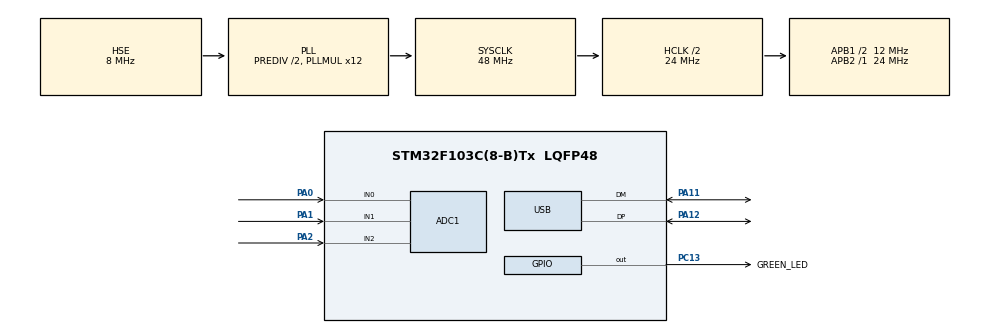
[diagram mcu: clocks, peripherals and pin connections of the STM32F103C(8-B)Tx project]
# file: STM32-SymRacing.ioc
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ADC1.Channel-4\#ChannelRegularConversion=ADC_CHANNEL_0
ADC1.Channel-5\#ChannelRegularConversion=ADC_CHANNEL_1
ADC1.Channel-6\#ChannelRegularConversion=ADC_CHANNEL_2
ADC1.ContinuousConvMode=ENABLE
ADC1.DataAlign=ADC_DATAALIGN_RIGHT
ADC1.EnableInjectedConversion=DISABLE
ADC1.EnableRegularConversion=ENABLE
ADC1.InjNumberOfConversion=0
ADC1.NbrOfConversion=3
ADC1.NbrOfConversionFlag=1
ADC1.Rank-4\#ChannelRegularConversion=1
ADC1.Rank-5\#ChannelRegularConversion=2
ADC1.Rank-6\#ChannelRegularConversion=3
ADC1.SamplingTime-4\#ChannelRegularConversion=ADC_SAMPLETIME_239CYCLES_5
ADC1.SamplingTime-5\#ChannelRegularConversion=ADC_SAMPLETIME_239CYCLES_5
ADC1.SamplingTime-6\#ChannelRegularConversion=ADC_SAMPLETIME_239CYCLES_5
ADC1.master=1
Dma.ADC1.0.Direction=DMA_PERIPH_TO_MEMORY
Dma.ADC1.0.Instance=DMA1_Channel1
Dma.ADC1.0.MemDataAlignment=DMA_MDATAALIGN_WORD
Dma.ADC1.0.MemInc=DMA_MINC_ENABLE
Dma.ADC1.0.Mode=DMA_CIRCULAR
Dma.ADC1.0.PeriphDataAlignment=DMA_PDATAALIGN_HALFWORD
Dma.ADC1.0.PeriphInc=DMA_PINC_DISABLE
Dma.ADC1.0.Priority=DMA_PRIORITY_LOW
Dma.Request0=ADC1
Mcu.Family=STM32F1
Mcu.Name=STM32F103C(8-B)Tx
Mcu.Package=LQFP48
NVIC.DMA1_Channel1_IRQn=true\:0\:0\:false\:false\:true\:false\:true\:true
NVIC.PriorityGroup=NVIC_PRIORITYGROUP_4
NVIC.USB_LP_CAN1_RX0_IRQn=true\:0\:0\:false\:false\:true\:false\:true\:true
PA0-WKUP.Signal=ADCx_IN0
PA1.Signal=ADCx_IN1
PA11.Mode=Device
PA11.Signal=USB_DM
PA12.Mode=Device
PA12.Signal=USB_DP
PA13.Mode=Serial_Wire
PA13.Signal=SYS_JTMS-SWDIO
PA14.Mode=Serial_Wire
PA14.Signal=SYS_JTCK-SWCLK
PA2.Signal=ADCx_IN2
PC13-TAMPER-RTC.GPIO_Label=GREEN_LED
PC13-TAMPER-RTC.GPIO_ModeDefaultOutputPP=GPIO_MODE_OUTPUT_OD
PC13-TAMPER-RTC.GPIO_PuPd=GPIO_NOPULL
PC13-TAMPER-RTC.GPIO_Speed=GPIO_SPEED_FREQ_HIGH
PC13-TAMPER-RTC.PinState=GPIO_PIN_SET
PC13-TAMPER-RTC.Signal=GPIO_Output
PD0-OSC_IN.Mode=HSE-External-Oscillator
PD0-OSC_IN.Signal=RCC_OSC_IN
PD1-OSC_OUT.Mode=HSE-External-Oscillator
PD1-OSC_OUT.Signal=RCC_OSC_OUT
ProjectManager.HeapSize=0x200
ProjectManager.StackSize=0x400
ProjectManager.TargetToolchain=STM32CubeIDE
RCC.AHBCLKDivider=RCC_SYSCLK_DIV2
RCC.AHBFreq_Value=24000000
RCC.APB1CLKDivider=RCC_HCLK_DIV2
RCC.APB1Freq_Value=12000000
RCC.APB1TimFreq_Value=24000000
RCC.APB2Freq_Value=24000000
RCC.APB2TimFreq_Value=24000000
RCC.HCLKFreq_Value=24000000
RCC.HSEDivPLL=RCC_HSE_PREDIV_DIV2
RCC.PLLMUL=RCC_PLL_MUL12
RCC.SYSCLKFreq_VALUE=48000000
RCC.SYSCLKSource=RCC_SYSCLKSOURCE_PLLCLK
RCC.USBFreq_Value=48000000
SH.ADCx_IN0.0=ADC1_IN0,IN0
SH.ADCx_IN1.0=ADC1_IN1,IN1
SH.ADCx_IN2.0=ADC1_IN2,IN2
USB_DEVICE.CLASS_NAME_FS=HID
USB_DEVICE.PRODUCT_STRING_HID_FS=STM32-SymRacing
USB_DEVICE.VirtualMode=Hid
USB_DEVICE.VirtualModeFS=Hid_FS
VP_USB_DEVICE_VS_USB_DEVICE_HID_FS.Mode=HID_FS
board=custom

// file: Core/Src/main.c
/* USER CODE BEGIN Header */
/**
 ******************************************************************************
 * @file           : main.c
 * @brief          : Main program body
 ******************************************************************************
 * @attention
 *
 * Copyright (c) 2023 STMicroelectronics.
 * All rights reserved.
 *
 * This software is licensed under terms that can be found in the LICENSE file
 * in the root directory of this software component.
 * If no LICENSE file comes with this software, it is provided AS-IS.
 *
 ******************************************************************************
 */
/* USER CODE END Header */
#include "main.h"
#include "usb_device.h"

/* USER CODE BEGIN Includes */
#include "stm32f1xx_hal_gpio.h"
#include "stm32f1xx_it.h"
#include "usbd_hid.h"
#include "stm32f1xx_hal_adc.h"
/* USER CODE END Includes */

/* USER CODE BEGIN PD */
#define ADC_CHANNEL_COUNT	3
#define MAX_ADC_VALUE		3800
#define MIN_ADC_VALUE		600
/* USER CODE END PD */

ADC_HandleTypeDef hadc1;
DMA_HandleTypeDef hdma_adc1;

/* USER CODE BEGIN PV */
static volatile uint32_t t_led = 0;
static volatile uint32_t t_usb = 0;
extern USBD_HandleTypeDef hUsbDeviceFS;

typedef struct {
	uint8_t reportId;
	uint8_t accelerator;
	uint8_t brake;
	uint8_t clutch;
	uint16_t steering;
} CarControlsReportData;

uint32_t adc_values[ADC_CHANNEL_COUNT] = { 0 };
//static uint32_t value_adc;
/* USER CODE END PV */

void SystemClock_Config(void);
static void MX_GPIO_Init(void);
static void MX_DMA_Init(void);
static void MX_ADC1_Init(void);
/* USER CODE BEGIN PFP */
static void process_ms(void);
/* USER CODE END PFP */

int main(void)
{

  /* MCU Configuration--------------------------------------------------------*/

  /* Reset of all peripherals, Initializes the Flash interface and the Systick. */
  HAL_Init();

  /* Configure the system clock */
  SystemClock_Config();

  /* USER CODE BEGIN SysInit */
	SysTick_Add_Callback(&process_ms);
  /* USER CODE END SysInit */

  /* Initialize all configured peripherals */
  MX_GPIO_Init();
  MX_DMA_Init();
  MX_USB_DEVICE_Init();
  MX_ADC1_Init();
  /* USER CODE BEGIN 2 */

	CarControlsReportData data = { 0 };
	data.reportId = (uint8_t) HID_REPORT_ID;
	data.steering = 1 << 15;

	// ADC
	HAL_ADC_Start_DMA(&hadc1, adc_values, ADC_CHANNEL_COUNT);
	double adc_convertion_factor = (double) (1<<8) / (MAX_ADC_VALUE - MIN_ADC_VALUE);

  /* USER CODE END 2 */

  /* Infinite loop */
  /* USER CODE BEGIN WHILE */
	uint8_t adc_byte_value[ADC_CHANNEL_COUNT] = {0};

	while (1) {
		if (!t_led) {
			t_led = 500;
			HAL_GPIO_TogglePin(GPIOC, GPIO_PIN_13);
		}

		if (!t_usb) {
			t_usb = 1;

			// convert data
			for(uint8_t i=0; i<ADC_CHANNEL_COUNT; i++){
				if(adc_values[i] > MAX_ADC_VALUE){
					adc_byte_value[i] = (uint8_t) (2 << 8) - 1;
				}else if(adc_values[i] < MIN_ADC_VALUE){
					adc_byte_value[i] = 0;
				}else{
					adc_byte_value[i] = (uint8_t) ((adc_values[i] - MIN_ADC_VALUE) * adc_convertion_factor);
				}
			}

			data.accelerator = 255 - adc_byte_value[0];
			data.brake = 255 - adc_byte_value[1];
			data.clutch = 255 - adc_byte_value[2];

			USBD_HID_SendReport(&hUsbDeviceFS, (uint8_t*) &data, sizeof(data));
		}
    /* USER CODE END WHILE */

	}
}

void SystemClock_Config(void)
{
  RCC_OscInitTypeDef RCC_OscInitStruct = {0};
  RCC_ClkInitTypeDef RCC_ClkInitStruct = {0};
  RCC_PeriphCLKInitTypeDef PeriphClkInit = {0};

  /** Initializes the RCC Oscillators according to the specified parameters
  * in the RCC_OscInitTypeDef structure.
  */
  RCC_OscInitStruct.OscillatorType = RCC_OSCILLATORTYPE_HSE;
  RCC_OscInitStruct.HSEState = RCC_HSE_ON;
  RCC_OscInitStruct.HSEPredivValue = RCC_HSE_PREDIV_DIV2;
  RCC_OscInitStruct.HSIState = RCC_HSI_ON;
  RCC_OscInitStruct.PLL.PLLState = RCC_PLL_ON;
  RCC_OscInitStruct.PLL.PLLSource = RCC_PLLSOURCE_HSE;
  RCC_OscInitStruct.PLL.PLLMUL = RCC_PLL_MUL12;
  if (HAL_RCC_OscConfig(&RCC_OscInitStruct) != HAL_OK)
  {
    Error_Handler();
  }

  /** Initializes the CPU, AHB and APB buses clocks
  */
  RCC_ClkInitStruct.ClockType = RCC_CLOCKTYPE_HCLK|RCC_CLOCKTYPE_SYSCLK
                              |RCC_CLOCKTYPE_PCLK1|RCC_CLOCKTYPE_PCLK2;
  RCC_ClkInitStruct.SYSCLKSource = RCC_SYSCLKSOURCE_PLLCLK;
  RCC_ClkInitStruct.AHBCLKDivider = RCC_SYSCLK_DIV2;
  RCC_ClkInitStruct.APB1CLKDivider = RCC_HCLK_DIV2;
  RCC_ClkInitStruct.APB2CLKDivider = RCC_HCLK_DIV1;

  if (HAL_RCC_ClockConfig(&RCC_ClkInitStruct, FLASH_LATENCY_1) != HAL_OK)
  {
    Error_Handler();
  }
  PeriphClkInit.PeriphClockSelection = RCC_PERIPHCLK_ADC|RCC_PERIPHCLK_USB;
  PeriphClkInit.AdcClockSelection = RCC_ADCPCLK2_DIV2;
  PeriphClkInit.UsbClockSelection = RCC_USBCLKSOURCE_PLL;
  if (HAL_RCCEx_PeriphCLKConfig(&PeriphClkInit) != HAL_OK)
  {
    Error_Handler();
  }
}

static void MX_ADC1_Init(void)
{

  ADC_ChannelConfTypeDef sConfig = {0};

  /** Common config
  */
  hadc1.Instance = ADC1;
  hadc1.Init.ScanConvMode = ADC_SCAN_ENABLE;
  hadc1.Init.ContinuousConvMode = ENABLE;
  hadc1.Init.DiscontinuousConvMode = DISABLE;
  hadc1.Init.ExternalTrigConv = ADC_SOFTWARE_START;
  hadc1.Init.DataAlign = ADC_DATAALIGN_RIGHT;
  hadc1.Init.NbrOfConversion = 3;
  if (HAL_ADC_Init(&hadc1) != HAL_OK)
  {
    Error_Handler();
  }

  /** Configure Regular Channel
  */
  sConfig.Channel = ADC_CHANNEL_0;
  sConfig.Rank = ADC_REGULAR_RANK_1;
  sConfig.SamplingTime = ADC_SAMPLETIME_239CYCLES_5;
  if (HAL_ADC_ConfigChannel(&hadc1, &sConfig) != HAL_OK)
  {
    Error_Handler();
  }

  /** Configure Regular Channel
  */
  sConfig.Channel = ADC_CHANNEL_1;
  sConfig.Rank = ADC_REGULAR_RANK_2;
  if (HAL_ADC_ConfigChannel(&hadc1, &sConfig) != HAL_OK)
  {
    Error_Handler();
  }

  /** Configure Regular Channel
  */
  sConfig.Channel = ADC_CHANNEL_2;
  sConfig.Rank = ADC_REGULAR_RANK_3;
  if (HAL_ADC_ConfigChannel(&hadc1, &sConfig) != HAL_OK)
  {
    Error_Handler();
  }

}

static void MX_DMA_Init(void)
{

  /* DMA controller clock enable */
  __HAL_RCC_DMA1_CLK_ENABLE();

  /* DMA interrupt init */
  /* DMA1_Channel1_IRQn interrupt configuration */
  HAL_NVIC_SetPriority(DMA1_Channel1_IRQn, 0, 0);
  HAL_NVIC_EnableIRQ(DMA1_Channel1_IRQn);

}

static void MX_GPIO_Init(void)
{
  GPIO_InitTypeDef GPIO_InitStruct = {0};

  /* GPIO Ports Clock Enable */
  __HAL_RCC_GPIOC_CLK_ENABLE();
  __HAL_RCC_GPIOD_CLK_ENABLE();
  __HAL_RCC_GPIOA_CLK_ENABLE();

  /*Configure GPIO pin Output Level */
  HAL_GPIO_WritePin(GREEN_LED_GPIO_Port, GREEN_LED_Pin, GPIO_PIN_SET);

  /*Configure GPIO pin : GREEN_LED_Pin */
  GPIO_InitStruct.Pin = GREEN_LED_Pin;
  GPIO_InitStruct.Mode = GPIO_MODE_OUTPUT_OD;
  GPIO_InitStruct.Pull = GPIO_NOPULL;
  GPIO_InitStruct.Speed = GPIO_SPEED_FREQ_HIGH;
  HAL_GPIO_Init(GREEN_LED_GPIO_Port, &GPIO_InitStruct);

}

/* USER CODE BEGIN 4 */
/**
 * process each system ticks
 */
static void process_ms(void) {
	if (t_led)
		t_led--;
	if (t_usb)
		t_usb--;
}
/* USER CODE END 4 */

void Error_Handler(void)
{
	__disable_irq();
	while (1) {
	}
}
